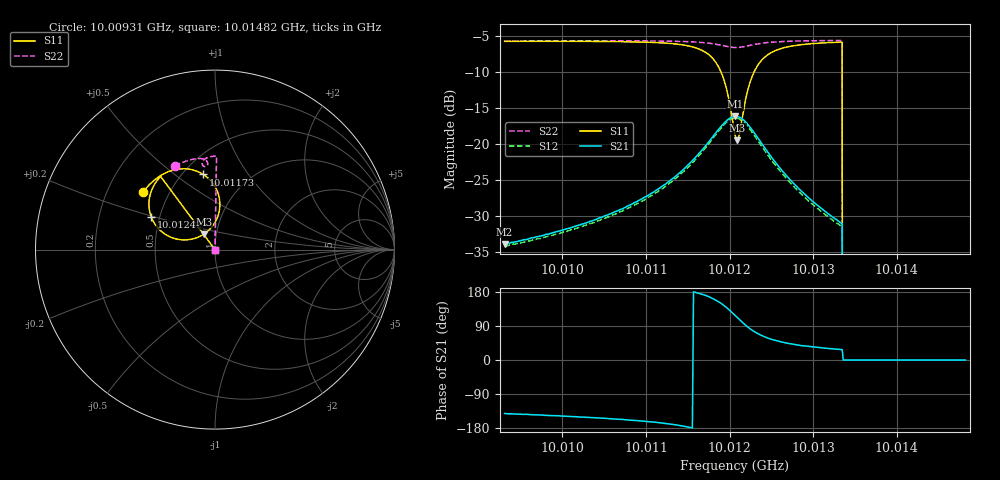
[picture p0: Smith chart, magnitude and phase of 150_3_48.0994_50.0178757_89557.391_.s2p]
#  HZ  S  RI  R  50.00
! Rohde & Schwarz Vector Network Analyzer
! Rohde-Schwarz,ZNB20-2Port,1311601062101988,3.16
! Created: UTC 12/23/2023, 3:49:40 AM
! freq[Hz]  re:S11  im:S11  re:S21  im:S21  re:S12  im:S12  re:S22  im:S22
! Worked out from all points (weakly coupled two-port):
!   401 points, 10.00931 GHz to 10.01482 GHz, reference 50 ohm
!   highest |S21| = -16.17 dB at 10.01207 GHz (marker M1); lowest = -33.9 dB at 10.00931 GHz (marker M2)
!   lowest |S11| = -19.5 dB at 10.01209 GHz (marker M3), VSWR 1.24, Z = 43.6 + j7.65 ohm
!   |S11| at or under -10 dB: 10.0119 GHz to 10.01229 GHz (397.4 kHz wide, 0.00397 % of centre); 10.01335 GHz to end of sweep
!   |S22| runs from - to -5.7 dB; largest |S21 - S12| = 0.0076
!   S11 on the Smith chart (normalised r, x): 10.00931 GHz: 0.36, +0.31; 10.01173 GHz: 0.63, +0.64; 10.01242 GHz: 0.45, +0.20; 10.01482 GHz: 1.00, +0.00
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1.0009311e10  -0.4 0.3233  -0.0157 -0.0127  -0.0147 -0.013  -0.2225 0.4673
1.0010233e10  -0.3452 0.3811  -0.0243 -0.0137  -0.0227 -0.0142  -0.166 0.4913
1.0010729e10  -0.3024 0.4128  -0.0328 -0.014  -0.0311 -0.0149  -0.1331 0.5011
1.0011156e10  -0.2455 0.4394  -0.0474 -0.0124  -0.0451 -0.0143  -0.1021 0.5066
1.0011473e10  -0.1724 0.4507  -0.0685 -0.0053  -0.0657 -0.00879  -0.0757 0.5067
1.0011735e10  -0.0643 0.4184  -0.0985 0.0196  -0.0966 0.0143  -0.0515 0.4981
1.0011845e10  -0.00608 0.361  -0.1113 0.0479  -0.1105 0.041  -0.0428 0.4884
1.0011927e10  0.0245 0.2835  -0.1129 0.0794  -0.1137 0.0721  -0.0404 0.4778
1.0011982e10  0.0236 0.215  -0.1044 0.1048  -0.106 0.0979  -0.0427 0.4701
1.0012065e10  -0.03 0.1124  -0.0726 0.1375  -0.0762 0.1307  -0.0523 0.4629
1.0012093e10  -0.0613 0.0867  -0.0581 0.1437  -0.0614 0.1376  -0.0564 0.4628
1.001212e10  -0.0974 0.0679  -0.0432 0.1469  -0.0461 0.1413  -0.0604 0.4634
1.0012175e10  -0.1741 0.0539  -0.0129 0.1448  -0.0171 0.1397  -0.0672 0.4681
1.0012258e10  -0.2694 0.0805  0.0215 0.1263  0.0163 0.1221  -0.0714 0.4788
1.0012327e10  -0.3205 0.1231  0.0366 0.1065  0.0312 0.1033  -0.0702 0.4879
1.0012423e10  -0.3559 0.1838  0.0457 0.0817  0.0406 0.0797  -0.0645 0.4981
1.0012657e10  -0.3653 0.2889  0.0436 0.0448  0.0398 0.0444  -0.0449 0.5115
1.0012988e10  -0.3366 0.3641  0.0331 0.0229  0.0303 0.0235  -0.018 0.5188
1.0013318e10  -0.3055 0.405  0.0254 0.0135  0.0235 0.0141  0.00643 0.5213
1.0013387e10  0 0  0 0  0 0  0 0
1.0013911e10  0 0  0 0  0 0  0 0
1.0014819e10  0 0  0 0  0 0  0 0
